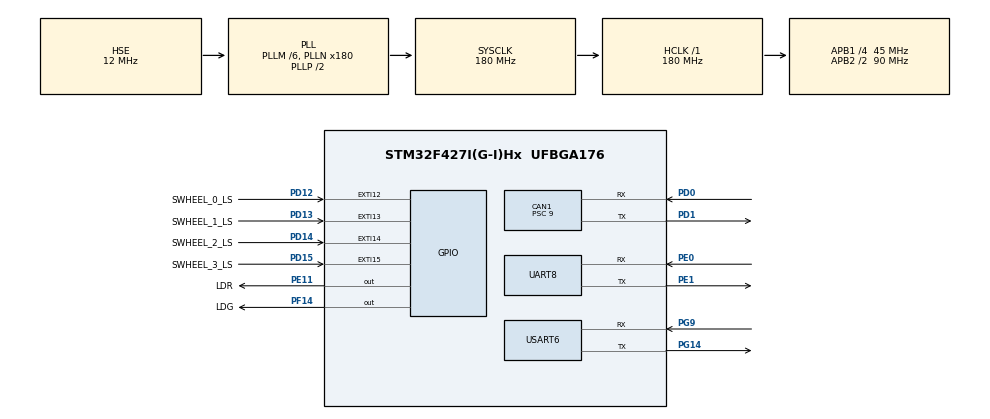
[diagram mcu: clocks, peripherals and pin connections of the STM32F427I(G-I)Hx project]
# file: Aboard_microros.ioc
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CAN1.ABOM=DISABLE
CAN1.AWUM=DISABLE
CAN1.BS1=CAN_BS1_3TQ
CAN1.BS2=CAN_BS2_1TQ
CAN1.CalculateBaudRate=1000000
CAN1.CalculateTimeBit=1000
CAN1.CalculateTimeQuantum=200.0
CAN1.Mode=CAN_MODE_NORMAL
CAN1.NART=DISABLE
CAN1.Prescaler=9
CAN1.RFLM=DISABLE
CAN1.SJW=CAN_SJW_1TQ
CAN1.TTCM=DISABLE
CAN1.TXFP=DISABLE
Dma.Request0=USART6_RX
Dma.Request1=USART6_TX
Dma.USART6_RX.0.Direction=DMA_PERIPH_TO_MEMORY
Dma.USART6_RX.0.FIFOMode=DMA_FIFOMODE_DISABLE
Dma.USART6_RX.0.Instance=DMA2_Stream1
Dma.USART6_RX.0.MemDataAlignment=DMA_MDATAALIGN_BYTE
Dma.USART6_RX.0.MemInc=DMA_MINC_ENABLE
Dma.USART6_RX.0.Mode=DMA_CIRCULAR
Dma.USART6_RX.0.PeriphDataAlignment=DMA_PDATAALIGN_BYTE
Dma.USART6_RX.0.PeriphInc=DMA_PINC_DISABLE
Dma.USART6_RX.0.Priority=DMA_PRIORITY_VERY_HIGH
Dma.USART6_TX.1.Direction=DMA_MEMORY_TO_PERIPH
Dma.USART6_TX.1.FIFOMode=DMA_FIFOMODE_DISABLE
Dma.USART6_TX.1.Instance=DMA2_Stream6
Dma.USART6_TX.1.MemDataAlignment=DMA_MDATAALIGN_BYTE
Dma.USART6_TX.1.MemInc=DMA_MINC_ENABLE
Dma.USART6_TX.1.Mode=DMA_NORMAL
Dma.USART6_TX.1.PeriphDataAlignment=DMA_PDATAALIGN_BYTE
Dma.USART6_TX.1.PeriphInc=DMA_PINC_DISABLE
Dma.USART6_TX.1.Priority=DMA_PRIORITY_VERY_HIGH
Mcu.Family=STM32F4
Mcu.Name=STM32F427I(G-I)Hx
Mcu.Package=UFBGA176
NVIC.CAN1_RX0_IRQn=true\:0\:0\:false\:false\:true\:true\:true\:true
NVIC.DMA2_Stream1_IRQn=true\:0\:0\:false\:false\:true\:false\:true\:true
NVIC.DMA2_Stream6_IRQn=true\:0\:0\:false\:false\:true\:false\:true\:true
NVIC.EXTI15_10_IRQn=true\:1\:0\:true\:false\:true\:true\:true\:true
NVIC.PriorityGroup=NVIC_PRIORITYGROUP_4
NVIC.USART6_IRQn=true\:0\:0\:false\:false\:true\:true\:true\:true
PA13.Mode=Serial_Wire
PA13.Signal=SYS_JTMS-SWDIO
PA14.Mode=Serial_Wire
PA14.Signal=SYS_JTCK-SWCLK
PC14/OSC32_IN.Mode=LSE-External-Clock-Source
PC14/OSC32_IN.Signal=RCC_OSC32_IN
PC15/OSC32_OUT.Mode=LSE-External-Clock-Source
PC15/OSC32_OUT.Signal=RCC_OSC32_OUT
PD0.Mode=CAN_Activate
PD0.Signal=CAN1_RX
PD1.Mode=CAN_Activate
PD1.Signal=CAN1_TX
PD12.GPIO_Label=SWHEEL_0_LS
PD12.GPIO_ModeDefaultEXTI=GPIO_MODE_IT_RISING
PD12.GPIO_PuPd=GPIO_PULLDOWN
PD12.Signal=GPXTI12
PD13.GPIO_Label=SWHEEL_1_LS
PD13.GPIO_PuPd=GPIO_PULLDOWN
PD13.Signal=GPXTI13
PD14.GPIO_Label=SWHEEL_2_LS
PD14.GPIO_PuPd=GPIO_PULLDOWN
PD14.Signal=GPXTI14
PD15.GPIO_Label=SWHEEL_3_LS
PD15.GPIO_PuPd=GPIO_PULLDOWN
PD15.Signal=GPXTI15
PE0.Mode=Asynchronous
PE0.Signal=UART8_RX
PE1.Mode=Asynchronous
PE1.Signal=UART8_TX
PE11.GPIO_Label=LDR
PE11.PinState=GPIO_PIN_SET
PE11.Signal=GPIO_Output
PF14.GPIO_Label=LDG
PF14.PinState=GPIO_PIN_SET
PF14.Signal=GPIO_Output
PG14.Mode=Asynchronous
PG14.Signal=USART6_TX
PG9.Mode=Asynchronous
PG9.Signal=USART6_RX
PH0/OSC_IN.Mode=HSE-External-Oscillator
PH0/OSC_IN.Signal=RCC_OSC_IN
PH1/OSC_OUT.Mode=HSE-External-Oscillator
PH1/OSC_OUT.Signal=RCC_OSC_OUT
ProjectManager.HeapSize=0x200
ProjectManager.StackSize=0x400
ProjectManager.TargetToolchain=STM32CubeIDE
RCC.48MHZClocksFreq_Value=90000000
RCC.AHBFreq_Value=180000000
RCC.APB1CLKDivider=RCC_HCLK_DIV4
RCC.APB1Freq_Value=45000000
RCC.APB1TimFreq_Value=90000000
RCC.APB2CLKDivider=RCC_HCLK_DIV2
RCC.APB2Freq_Value=90000000
RCC.APB2TimFreq_Value=180000000
RCC.CortexFreq_Value=180000000
RCC.FLatency=FLASH_LATENCY_5
RCC.HCLKFreq_Value=180000000
RCC.HSE_VALUE=12000000
RCC.HSI_VALUE=16000000
RCC.LSE_VALUE=32768
RCC.PLLM=6
RCC.PLLN=180
RCC.PLLSourceVirtual=RCC_PLLSOURCE_HSE
RCC.PWREXT_OverDrive=PWREXT_OverDrive_ACTIVATED
RCC.PWR_Regulator_Voltage_Scale=PWR_REGULATOR_VOLTAGE_SCALE1
RCC.SYSCLKFreq_VALUE=180000000
RCC.SYSCLKSource=RCC_SYSCLKSOURCE_PLLCLK
RCC.VCOOutputFreq_Value=360000000
UART8.VirtualMode=Asynchronous
USART6.VirtualMode=VM_ASYNC
board=custom

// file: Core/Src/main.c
/* USER CODE BEGIN Header */
/**
  ******************************************************************************
  * @file           : main.c
  * @brief          : Main program body
  ******************************************************************************
  * @attention
  *
  * Copyright (c) 2023 STMicroelectronics.
  * All rights reserved.
  *
  * This software is licensed under terms that can be found in the LICENSE file
  * in the root directory of this software component.
  * If no LICENSE file comes with this software, it is provided AS-IS.
  *
  ******************************************************************************
  */
/* USER CODE END Header */
#include "main.h"
#include "can.h"
#include "dma.h"
#include "usart.h"
#include "gpio.h"

/* USER CODE BEGIN Includes */
#include "wtr_vesc.h"
#include "DJI.h"
#include "wtr_can.h"
#include "Caculate.h"
#include "steering_wheel_chassis.h"
#include <math.h>
/* USER CODE END Includes */

/* USER CODE BEGIN PV */
swChassis_t mychassis;
VESC_t hVESC[4];
/* USER CODE END PV */

void SystemClock_Config(void);

int main(void)
{

  /* MCU Configuration--------------------------------------------------------*/

  /* Reset of all peripherals, Initializes the Flash interface and the Systick. */
  HAL_Init();

  /* Configure the system clock */
  SystemClock_Config();

  /* Initialize all configured peripherals */
  MX_GPIO_Init();
  MX_DMA_Init();
  MX_CAN1_Init();
  MX_USART6_UART_Init();
  MX_UART8_Init();
  /* USER CODE BEGIN 2 */
 int cnt =0;
    CANFilterInit(&hcan1);
    for (int i = 0; i < 4; i++) {
        hDJI[i].motorType = M2006;}
    DJI_Init();
    for (int i = 0; i < 4; i++) {
        hDJI[i].motorType = M2006;
        hDJI[i].speedPID.KI=0.01;
        hDJI[i].speedPID.KD=0.1;
        hDJI[i].speedPID.KP=1.5;
        hDJI[i].posPID.KP=150;
        hDJI[i].posPID.KI=1.4;
        hDJI[i].posPID.KD=0;
    }

 //   swChassis_startCorrect(&mychassis);
    //swChassis_set_targetVelocity(&mychassis,-10,0,0);
//mychassis.state=CHASSIS_READY;
    HAL_GPIO_WritePin(LDR_GPIO_Port, LDR_Pin, GPIO_PIN_RESET);
    HAL_Delay(300);
//    swChassis_init(&mychassis);
//    swChassis_startCorrect(&mychassis);
    HAL_GPIO_WritePin(LDR_GPIO_Port, LDR_Pin, GPIO_PIN_SET);

  /* USER CODE END 2 */

  /* Infinite loop */
  while (1)
  {

    /* USER CODE BEGIN 3 */
      //swChassis_executor(&mychassis);
      HAL_GPIO_TogglePin(LDG_GPIO_Port, LDG_Pin);
      //swChassis_set_targetVelocity(&mychassis,-10,10,0);
      for (int i = 0; i < 4; i++) {
          speedServo(200,&hDJI[i]);
      }
      CanTransmit_DJI_1234(&hcan1, hDJI[0].speedPID.output, hDJI[1].speedPID.output, hDJI[2].speedPID.output,
                           hDJI[3].speedPID.output);
//      CanTransmit_DJI_1234(&hcan1, 0,0,0,0);
      HAL_Delay(5);
  }
  /* USER CODE END 3 */
}

void SystemClock_Config(void)
{
  RCC_OscInitTypeDef RCC_OscInitStruct = {0};
  RCC_ClkInitTypeDef RCC_ClkInitStruct = {0};

  /** Configure the main internal regulator output voltage
  */
  __HAL_RCC_PWR_CLK_ENABLE();
  __HAL_PWR_VOLTAGESCALING_CONFIG(PWR_REGULATOR_VOLTAGE_SCALE1);

  /** Initializes the RCC Oscillators according to the specified parameters
  * in the RCC_OscInitTypeDef structure.
  */
  RCC_OscInitStruct.OscillatorType = RCC_OSCILLATORTYPE_HSE;
  RCC_OscInitStruct.HSEState = RCC_HSE_ON;
  RCC_OscInitStruct.PLL.PLLState = RCC_PLL_ON;
  RCC_OscInitStruct.PLL.PLLSource = RCC_PLLSOURCE_HSE;
  RCC_OscInitStruct.PLL.PLLM = 6;
  RCC_OscInitStruct.PLL.PLLN = 180;
  RCC_OscInitStruct.PLL.PLLP = RCC_PLLP_DIV2;
  RCC_OscInitStruct.PLL.PLLQ = 4;
  if (HAL_RCC_OscConfig(&RCC_OscInitStruct) != HAL_OK)
  {
    Error_Handler();
  }

  /** Activate the Over-Drive mode
  */
  if (HAL_PWREx_EnableOverDrive() != HAL_OK)
  {
    Error_Handler();
  }

  /** Initializes the CPU, AHB and APB buses clocks
  */
  RCC_ClkInitStruct.ClockType = RCC_CLOCKTYPE_HCLK|RCC_CLOCKTYPE_SYSCLK
                              |RCC_CLOCKTYPE_PCLK1|RCC_CLOCKTYPE_PCLK2;
  RCC_ClkInitStruct.SYSCLKSource = RCC_SYSCLKSOURCE_PLLCLK;
  RCC_ClkInitStruct.AHBCLKDivider = RCC_SYSCLK_DIV1;
  RCC_ClkInitStruct.APB1CLKDivider = RCC_HCLK_DIV4;
  RCC_ClkInitStruct.APB2CLKDivider = RCC_HCLK_DIV2;

  if (HAL_RCC_ClockConfig(&RCC_ClkInitStruct, FLASH_LATENCY_5) != HAL_OK)
  {
    Error_Handler();
  }
}

/* USER CODE BEGIN 4 */
void HAL_GPIO_EXTI_Callback(uint16_t GPIO_Pin)
{
    swChassis_EXTI_Callback(&mychassis, GPIO_Pin);
}
/* USER CODE END 4 */

void Error_Handler(void)
{
  __disable_irq();
  while (1)
  {
  }
}
